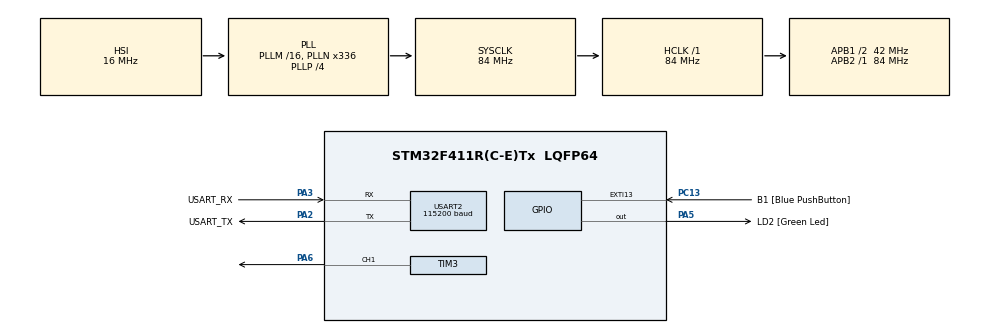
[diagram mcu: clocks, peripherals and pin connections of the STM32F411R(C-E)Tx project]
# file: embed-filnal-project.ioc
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Mcu.Family=STM32F4
Mcu.Name=STM32F411R(C-E)Tx
Mcu.Package=LQFP64
NVIC.PriorityGroup=NVIC_PRIORITYGROUP_2
NVIC.TIM3_IRQn=true\:0\:0\:true\:false\:true\:true\:true
NVIC.USART2_IRQn=true\:1\:0\:true\:false\:true\:true\:true
PA13.GPIO_Label=TMS
PA13.Mode=Serial_Wire
PA13.Signal=SYS_JTMS-SWDIO
PA14.GPIO_Label=TCK
PA14.Mode=Serial_Wire
PA14.Signal=SYS_JTCK-SWCLK
PA2.GPIO_Label=USART_TX
PA2.Mode=Asynchronous
PA2.Signal=USART2_TX
PA3.GPIO_Label=USART_RX
PA3.Mode=Asynchronous
PA3.Signal=USART2_RX
PA5.GPIO_Label=LD2 [Green Led]
PA5.Signal=GPIO_Output
PA6.Signal=S_TIM3_CH1
PB3.GPIO_Label=SWO
PB3.Signal=SYS_JTDO-SWO
PC13-ANTI_TAMP.GPIO_Label=B1 [Blue PushButton]
PC13-ANTI_TAMP.GPIO_ModeDefaultEXTI=GPIO_MODE_IT_FALLING
PC13-ANTI_TAMP.Signal=GPXTI13
PC14-OSC32_IN.Mode=LSE-External-Oscillator
PC14-OSC32_IN.Signal=RCC_OSC32_IN
PC15-OSC32_OUT.Mode=LSE-External-Oscillator
PC15-OSC32_OUT.Signal=RCC_OSC32_OUT
PH0\ -\ OSC_IN.Mode=HSE-External-Clock-Source
PH0\ -\ OSC_IN.Signal=RCC_OSC_IN
PH1\ -\ OSC_OUT.Mode=HSE-External-Clock-Source
PH1\ -\ OSC_OUT.Signal=RCC_OSC_OUT
ProjectManager.HeapSize=0x200
ProjectManager.StackSize=0x400
ProjectManager.TargetToolchain=STM32CubeIDE
RCC.48MHZClocksFreq_Value=84000000
RCC.AHBFreq_Value=84000000
RCC.APB1CLKDivider=RCC_HCLK_DIV2
RCC.APB1Freq_Value=42000000
RCC.APB1TimFreq_Value=84000000
RCC.APB2Freq_Value=84000000
RCC.APB2TimFreq_Value=84000000
RCC.CortexFreq_Value=84000000
RCC.FLatency-AdvancedSettings=FLASH_LATENCY_2
RCC.HCLKFreq_Value=84000000
RCC.HSE_VALUE=8000000
RCC.HSI_VALUE=16000000
RCC.PLLN=336
RCC.PLLP=RCC_PLLP_DIV4
RCC.SYSCLKFreq_VALUE=84000000
RCC.SYSCLKSource=RCC_SYSCLKSOURCE_PLLCLK
RCC.VCOOutputFreq_Value=336000000
SH.S_TIM3_CH1.0=TIM3_CH1,PWM Generation1 CH1
TIM3.AutoReloadPreload=TIM_AUTORELOAD_PRELOAD_ENABLE
TIM3.Channel-PWM\ Generation1\ CH1=TIM_CHANNEL_1
TIM3.Period=1000
TIM3.Prescaler=3500
USART2.BaudRate=115200
USART2.VirtualMode=VM_ASYNC
VP_TIM3_VS_ClockSourceINT.Mode=Internal
board=NUCLEO-F411RE

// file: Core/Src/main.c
/* USER CODE BEGIN Header */
/**
  ******************************************************************************
  * @file           : main.c
  * @brief          : Main program body
  ******************************************************************************
  * @attention
  *
  * <h2><center>&copy; Copyright (c) 2020 STMicroelectronics.
  * All rights reserved.</center></h2>
  *
  * This software component is licensed by ST under BSD 3-Clause license,
  * the "License"; You may not use this file except in compliance with the
  * License. You may obtain a copy of the License at:
  *                        opensource.org/licenses/BSD-3-Clause
  *
  ******************************************************************************
  */
/* USER CODE END Header */

#include "main.h"

/* USER CODE BEGIN Includes */
#include <stdio.h>
#include <stdlib.h>
#include <string.h>
/* USER CODE END Includes */

/* USER CODE BEGIN PTD */
struct Ball {
	int prevX, prevY; // Previous position
	int posX, posY; // position
	int mvH, mvV; // velocity
};

struct Paddle {
	uint8_t id;
	int prevX, prevY;
	int posX, posY;
};
/* USER CODE END PTD */

/* USER CODE BEGIN PD */
#define FORCE 1

#define SCREEN_WIDTH 79
#define SCREEN_HEIGHT 25

// program state
#define NULL_SCREEN -1
#define START_SCREEN 0
#define GAME_SCREEN 1
#define END_SCREEN 10
#define CREDIT_SCREEN 99

// color
#define COLOR_DEFAULT 0
#define COLOR_BLACK 0
#define COLOR_WHITE 15
#define COLOR_RED 196
#define COLOR_BLUE 21
#define COLOR_BLUE_SKY 51
#define COLOR_LIGHT_GREEN 40
#define COLOR_DARK_GREEN 34
#define COLOR_YELLOW 226
#define COLOR_PURPLE 99

// constant
#define PADDLE_SIZE_X 1
#define PADDLE_SZIE_Y 3 // Half
#define PADDLE_SPEED 2
/* USER CODE END PD */

TIM_HandleTypeDef htim3;

UART_HandleTypeDef huart2;

/* USER CODE BEGIN PV */
int state = START_SCREEN;
int tracker = NULL_SCREEN;
int score1 = 0, score2 = 0;
uint8_t isGameStart = 0, isGameEnd = 0, enableRandom = 0;
uint8_t winner = 0, win_score = 3;
struct Ball ball = {
		.posX = 40,
		.posY = 12,
		.mvH = 2,
		.mvV = 1,
};
struct Paddle paddle1 = {
	.id = 1,
	.posX = 75,
	.posY = 12
};
struct Paddle paddle2 = {
	.id = 2,
	.posX = 5,
	.posY = 12,
};
char rxData[10];
/* USER CODE END PV */

void SystemClock_Config(void);
static void MX_GPIO_Init(void);
static void MX_USART2_UART_Init(void);
static void MX_TIM3_Init(void);
/* USER CODE BEGIN PFP */
void welcome(void);
void initial(void);
void gameover(void);
void tick(void);
void render(void);
void reset(void);
// drawing
void drawScoreBar(void);
void drawZoneLine(void);
void drawPaddle(struct Paddle *paddle, uint8_t force);
void drawBall(struct Ball *ball);
// update value
void setPaddlePostion(struct Paddle* paddle, int value);
void setBallPosition(struct Ball *ball, int col, int row);
void updateBallPosition(struct Ball *ball);
void resetPosition(void);
void resetVelocity(void);
void resetScore(void);
void reset(void);
uint8_t checkIfScore(void);
// screen related
void clrscr(void);
void print(const char *str);
void set_cursor(uint8_t col, uint8_t row);
// print message
void printGameTitle(uint8_t start_col, uint8_t start_row);
void printHTP(uint8_t start_col, uint8_t start_row);
void printGameOver(uint8_t start_col, uint8_t start_row);
void printCredit(uint8_t start_col, uint8_t start_row);
// utility
int boundMaxMin(int value, int max, int min);
void setBackgroundColor(uint8_t color);
void setForegroundColor(uint8_t color);
/* USER CODE END PFP */

/* USER CODE BEGIN 0 */
void HAL_UART_RxCpltCallback(UART_HandleTypeDef *huart) {
  /* here we consume the current value of rx */
  // Debug Blinking
  HAL_GPIO_WritePin(LD2_GPIO_Port, LD2_Pin, 1);
  	switch (state) {
  	case START_SCREEN:
  		switch (rxData[0]) {
  		case 's': case 'S':
  			state = GAME_SCREEN;

  			// Redraw screen to Start New Game
  			resetPosition();
  			resetScore();
  			isGameStart = 0;
  			isGameEnd = 0;
  			enableRandom = 0;
  			initial();

  			break;
  		case '1': win_score = 1; tracker = NULL_SCREEN; break;
  		case '2': win_score = 2; tracker = NULL_SCREEN; break;
  		case '3': win_score = 3; tracker = NULL_SCREEN; break;
  		case '4': win_score = 4; tracker = NULL_SCREEN; break;
  		case '5': win_score = 5; tracker = NULL_SCREEN; break;
  		case '6': win_score = 6; tracker = NULL_SCREEN; break;
  		case '7': win_score = 7; tracker = NULL_SCREEN; break;
  		case '8': win_score = 8; tracker = NULL_SCREEN; break;
  		case '9': win_score = 9; tracker = NULL_SCREEN; break;
  		case '0': win_score = 10; tracker = NULL_SCREEN; break;
  		}
  		break;
  	case GAME_SCREEN:
  		// Any key would trigger this
  		isGameStart = 1;
  		switch(rxData[0]) {
		case 'A':
			setPaddlePostion(&paddle1, paddle1.posY-PADDLE_SPEED);
			break;
		case 'B':
			setPaddlePostion(&paddle1, paddle1.posY+PADDLE_SPEED);
			break;
		case 'w':
			setPaddlePostion(&paddle2, paddle2.posY-PADDLE_SPEED);
			break;
		case 's':
			setPaddlePostion(&paddle2, paddle2.posY+PADDLE_SPEED);
			break;
		case 'x': case 'X':
			state = START_SCREEN;

			resetPosition();
			resetScore();
			break;
		case 'c': case 'C':
			enableRandom = 1;
			set_cursor(65, 24);
			print("Random mode ON!");
			break;
		}
  		break;
  	case END_SCREEN:
  		switch(rxData[0]) {
  		case 'r': case 'R':
  			state = GAME_SCREEN;

			// Redraw screen to Start New Game
			resetPosition();
			resetScore();
			isGameStart = 0;
			isGameEnd = 0;
			enableRandom = 0;
			initial();
  			break;
  		case 'x': case 'X':
  			state = START_SCREEN;
  			break;
  		}
  		break;
  	}

  /* set up to receive another char */
  HAL_UART_Receive_IT(&huart2, rxData, 1);
}
/* USER CODE END 0 */

int main(void)
{

  /* MCU Configuration--------------------------------------------------------*/

  /* Reset of all peripherals, Initializes the Flash interface and the Systick. */
  HAL_Init();

  /* Configure the system clock */
  SystemClock_Config();

  /* Initialize all configured peripherals */
  MX_GPIO_Init();
  MX_USART2_UART_Init();
  MX_TIM3_Init();
  /* USER CODE BEGIN 2 */
  HAL_TIM_PWM_Start(&htim3, TIM_CHANNEL_1);
  HAL_TIM_Base_Start_IT(&htim3);
  HAL_UART_Receive_IT(&huart2, (uint8_t*)rxData, 1);
  /* USER CODE END 2 */

  /* Infinite loop */
  while (1)
  {

  }
}

void SystemClock_Config(void)
{
  RCC_OscInitTypeDef RCC_OscInitStruct = {0};
  RCC_ClkInitTypeDef RCC_ClkInitStruct = {0};

  /** Configure the main internal regulator output voltage
  */
  __HAL_RCC_PWR_CLK_ENABLE();
  __HAL_PWR_VOLTAGESCALING_CONFIG(PWR_REGULATOR_VOLTAGE_SCALE1);
  /** Initializes the CPU, AHB and APB busses clocks
  */
  RCC_OscInitStruct.OscillatorType = RCC_OSCILLATORTYPE_HSI;
  RCC_OscInitStruct.HSIState = RCC_HSI_ON;
  RCC_OscInitStruct.HSICalibrationValue = RCC_HSICALIBRATION_DEFAULT;
  RCC_OscInitStruct.PLL.PLLState = RCC_PLL_ON;
  RCC_OscInitStruct.PLL.PLLSource = RCC_PLLSOURCE_HSI;
  RCC_OscInitStruct.PLL.PLLM = 16;
  RCC_OscInitStruct.PLL.PLLN = 336;
  RCC_OscInitStruct.PLL.PLLP = RCC_PLLP_DIV4;
  RCC_OscInitStruct.PLL.PLLQ = 4;
  if (HAL_RCC_OscConfig(&RCC_OscInitStruct) != HAL_OK)
  {
    Error_Handler();
  }
  /** Initializes the CPU, AHB and APB busses clocks
  */
  RCC_ClkInitStruct.ClockType = RCC_CLOCKTYPE_HCLK|RCC_CLOCKTYPE_SYSCLK
                              |RCC_CLOCKTYPE_PCLK1|RCC_CLOCKTYPE_PCLK2;
  RCC_ClkInitStruct.SYSCLKSource = RCC_SYSCLKSOURCE_PLLCLK;
  RCC_ClkInitStruct.AHBCLKDivider = RCC_SYSCLK_DIV1;
  RCC_ClkInitStruct.APB1CLKDivider = RCC_HCLK_DIV2;
  RCC_ClkInitStruct.APB2CLKDivider = RCC_HCLK_DIV1;

  if (HAL_RCC_ClockConfig(&RCC_ClkInitStruct, FLASH_LATENCY_2) != HAL_OK)
  {
    Error_Handler();
  }
}

static void MX_TIM3_Init(void)
{

  TIM_ClockConfigTypeDef sClockSourceConfig = {0};
  TIM_MasterConfigTypeDef sMasterConfig = {0};
  TIM_OC_InitTypeDef sConfigOC = {0};

  htim3.Instance = TIM3;
  htim3.Init.Prescaler = 3500;
  htim3.Init.CounterMode = TIM_COUNTERMODE_UP;
  htim3.Init.Period = 1000;
  htim3.Init.ClockDivision = TIM_CLOCKDIVISION_DIV1;
  htim3.Init.AutoReloadPreload = TIM_AUTORELOAD_PRELOAD_ENABLE;
  if (HAL_TIM_Base_Init(&htim3) != HAL_OK)
  {
    Error_Handler();
  }
  sClockSourceConfig.ClockSource = TIM_CLOCKSOURCE_INTERNAL;
  if (HAL_TIM_ConfigClockSource(&htim3, &sClockSourceConfig) != HAL_OK)
  {
    Error_Handler();
  }
  if (HAL_TIM_PWM_Init(&htim3) != HAL_OK)
  {
    Error_Handler();
  }
  sMasterConfig.MasterOutputTrigger = TIM_TRGO_RESET;
  sMasterConfig.MasterSlaveMode = TIM_MASTERSLAVEMODE_DISABLE;
  if (HAL_TIMEx_MasterConfigSynchronization(&htim3, &sMasterConfig) != HAL_OK)
  {
    Error_Handler();
  }
  sConfigOC.OCMode = TIM_OCMODE_PWM1;
  sConfigOC.Pulse = 0;
  sConfigOC.OCPolarity = TIM_OCPOLARITY_HIGH;
  sConfigOC.OCFastMode = TIM_OCFAST_DISABLE;
  if (HAL_TIM_PWM_ConfigChannel(&htim3, &sConfigOC, TIM_CHANNEL_1) != HAL_OK)
  {
    Error_Handler();
  }
  HAL_TIM_MspPostInit(&htim3);

}

static void MX_USART2_UART_Init(void)
{

  huart2.Instance = USART2;
  huart2.Init.BaudRate = 115200;
  huart2.Init.WordLength = UART_WORDLENGTH_8B;
  huart2.Init.StopBits = UART_STOPBITS_1;
  huart2.Init.Parity = UART_PARITY_NONE;
  huart2.Init.Mode = UART_MODE_TX_RX;
  huart2.Init.HwFlowCtl = UART_HWCONTROL_NONE;
  huart2.Init.OverSampling = UART_OVERSAMPLING_16;
  if (HAL_UART_Init(&huart2) != HAL_OK)
  {
    Error_Handler();
  }

}

static void MX_GPIO_Init(void)
{
  GPIO_InitTypeDef GPIO_InitStruct = {0};

  /* GPIO Ports Clock Enable */
  __HAL_RCC_GPIOC_CLK_ENABLE();
  __HAL_RCC_GPIOH_CLK_ENABLE();
  __HAL_RCC_GPIOA_CLK_ENABLE();
  __HAL_RCC_GPIOB_CLK_ENABLE();

  /*Configure GPIO pin Output Level */
  HAL_GPIO_WritePin(LD2_GPIO_Port, LD2_Pin, GPIO_PIN_RESET);

  /*Configure GPIO pin : B1_Pin */
  GPIO_InitStruct.Pin = B1_Pin;
  GPIO_InitStruct.Mode = GPIO_MODE_IT_FALLING;
  GPIO_InitStruct.Pull = GPIO_NOPULL;
  HAL_GPIO_Init(B1_GPIO_Port, &GPIO_InitStruct);

  /*Configure GPIO pin : LD2_Pin */
  GPIO_InitStruct.Pin = LD2_Pin;
  GPIO_InitStruct.Mode = GPIO_MODE_OUTPUT_PP;
  GPIO_InitStruct.Pull = GPIO_NOPULL;
  GPIO_InitStruct.Speed = GPIO_SPEED_FREQ_LOW;
  HAL_GPIO_Init(LD2_GPIO_Port, &GPIO_InitStruct);

}

/* USER CODE BEGIN 4 */
void HAL_TIM_PeriodElapsedCallback(TIM_HandleTypeDef *htim) {

	switch (state) {
	case START_SCREEN:
		// Start screen
		welcome();
		break;
	case GAME_SCREEN:
		if (isGameStart) {
			if (!isGameEnd) {
				tick();
				render();
			} else {
				state = END_SCREEN;
				clrscr();
			}
		}
		break;
	case END_SCREEN:
		gameover();
		break;
	case CREDIT_SCREEN:
		break;
	}

	// Change tracker point
	if (tracker != state)
		tracker = state;

	// Toggle LED
	HAL_GPIO_WritePin(LD2_GPIO_Port, LD2_Pin, 0);
}

const uint8_t bst = 93;
const uint8_t bed = 226;
uint8_t bc = 93;

// Tick()
void tick() {
	// Update Ball Position
	updateBallPosition(&ball);

	// Score's
	switch (checkIfScore()) {
	case 1:
		// Player 1 Score!
		score1++;
		reset();
		break;
	case 2:
		// Player 2 Score!
		score2++;
		reset();
		break;
	default:
		// Continue;
		break;
	}

	// Game have ended
	if (score1 >= win_score || score2 >= win_score) {
		isGameEnd = 1;
		isGameStart = 1;
	}
}

// Update()
void render() {
	drawPaddle(&paddle1, 0);
	drawPaddle(&paddle2, 0);
	drawBall(&ball);
}

// Complex &
// Screens
void welcome() {
	if (tracker == state) return;

	// Draw Game Screen for being background
	initial();

	const char buffer[] = "\033[?25l"; // Invisible Cursor

	print(buffer);

	printGameTitle(31, 5);
	printHTP(25, 15);
	printCredit(60, 24);
}

void initial() {
	clrscr();
	drawScoreBar();
	drawZoneLine();
	drawPaddle(&paddle1, 1);
	drawPaddle(&paddle2, 1);

	if (enableRandom) {
		set_cursor(65, 24);
		print("Random mode ON!");
	}

	srand(SysTick->VAL);

	return;
}

void gameover() {
	winner = (score1 > score2) ? 1 : 2;
	printGameOver(22, 9);
}

uint8_t checkIfScore() {
	struct Ball *b = &ball;
	if (b->mvH > 0 && b->posX + b->mvH >= SCREEN_WIDTH) { // Player2 score!
		return 2;
	} else if (b->mvH < 0 && b->posX + b->mvH <= 0) { // Player1 score!
		return 1;
	}
	else {
		return 0;
	}
}

// Draw functions
void drawScoreBar() {
	char buff[16];
	set_cursor(45, 0);
	setForegroundColor(COLOR_RED);
	HAL_UART_Transmit(&huart2, (uint8_t*)buff, sprintf(buff, "%d", score1), HAL_MAX_DELAY);
	set_cursor(77, 0);
	print("P1");
	set_cursor(35, 0);
	setForegroundColor(COLOR_BLUE);
	HAL_UART_Transmit(&huart2, (uint8_t*)buff, sprintf(buff, "%d", score2), HAL_MAX_DELAY);
	set_cursor(3, 0);
	print("P2");

	setForegroundColor(COLOR_WHITE);
}

void drawPaddle(struct Paddle* paddle, uint8_t force) {
	if (!force && paddle->prevX == paddle->posX && paddle->prevY == paddle->posY) return;

//	char clean = ' ';

	// Clean up Old
	set_cursor(paddle->posX, paddle->prevY-3);
	setBackgroundColor(COLOR_DEFAULT);
	for (uint8_t j = paddle->prevY-3; j <= paddle->prevY+3; ++j) {
		set_cursor(paddle->posX, j);
		print(" ");
	}

	// Set new values to previous position
	paddle->prevX = paddle->posX;
	paddle->prevY = paddle->posY;

	// Render New
	set_cursor(paddle->posX, paddle->posY-3);
	setBackgroundColor(paddle->id == 1 ? COLOR_RED : COLOR_BLUE);
	for (uint8_t j = paddle->posY-3; j <= paddle->posY+3; ++j) {
		set_cursor(paddle->posX, j);
		print(" ");
	}

	setBackgroundColor(COLOR_DEFAULT);
	return;
}

void drawZoneLine() {
	set_cursor(40, 0);
	setBackgroundColor(COLOR_LIGHT_GREEN);
	for (uint8_t i = 0; i <= SCREEN_HEIGHT; ++i) {
		set_cursor(40, i);
		print(" ");
	}
	setBackgroundColor(COLOR_DEFAULT);
	return;
}

void drawBall(struct Ball *ball) {
	if (ball->prevX == ball->posX && ball->prevY == ball->posY) return;

	// Clean up Old
	set_cursor(ball->prevX, ball->prevY);
	setBackgroundColor(ball->prevX == 40 ? COLOR_LIGHT_GREEN : COLOR_DEFAULT);
	print(" ");

	// Update previous position
	ball->prevX = ball->posX;
	ball->prevY = ball->posY;

	// Render New
	set_cursor(ball->posX, ball->posY);
	setBackgroundColor(bc++);
	bc %= bed;
	if (bc == 0) {
		bc = bst;
	}
	print(" ");

	setBackgroundColor(COLOR_DEFAULT);
	return;
}

// update functions
void updateBallPosition(struct Ball *ball) {

	struct Paddle *p1 = &paddle1;
	struct Paddle *p2 = &paddle2;

	if (p1 == NULL || p2 == NULL) return;

	if ((ball->mvH > 0 && ball->posX + ball->mvH >= p1->posX && (ball->posY + ball->mvV <= p1->posY+PADDLE_SZIE_Y && ball->posY + ball->mvV >= p1->posY-PADDLE_SZIE_Y)) ||
		(ball->mvH < 0 && ball->posX + ball->mvH <= p2->posX && (ball->posY + ball->mvV <= p2->posY+PADDLE_SZIE_Y && ball->posY + ball->mvV >= p2->posY-PADDLE_SZIE_Y)))
	{
		if (enableRandom) {
			uint8_t chance = rand() % 101;
			int sign = ball->mvH < 0 ? -1 : 1;
			if (chance > 75) {
				ball->mvH = 2 * sign;
			} else {
				ball->mvH = 3 * sign;
			}

			if (chance > 50) {
				ball->mvV = -ball->mvV;
			}
		}
		ball->mvH = -ball->mvH;
	}

	ball->posX = boundMaxMin(ball->posX+ball->mvH, SCREEN_WIDTH, 0);

	if ((ball->mvV < 0 && ball->posY + ball->mvV <= 0) ||
		(ball->mvV > 0 && ball->posY + ball->mvV >= SCREEN_HEIGHT)) {
		if (enableRandom) {
			uint8_t chance = rand() % 101;
			int sign = ball->mvV < 0 ? -1 : 1;
			if (chance > 20) {
				ball->mvV = 1 * sign;
			} else {
				ball->mvV = 2 * sign;
			}
		}
		ball->mvV = -ball->mvV;
	}

	ball->posY = boundMaxMin(ball->posY+ball->mvV, SCREEN_HEIGHT, 0);
}

void resetPosition() {
	// Reset Position Paddle
	setPaddlePostion(&paddle1, 12);
	setPaddlePostion(&paddle2, 12);
	// reset Postion Ball
	setBallPosition(&ball, 40, 12);
}

void resetVelocity() {
	ball.mvH = 2;
	ball.mvV = 1;
}

void resetScore() {
	score1 = score2 = 0;
}

void reset() {
	resetPosition();
	resetVelocity();
	// No reset Score <-- the difference

	// Stop the game til user input any
	isGameStart = 0;

	// Re draw all
	initial();
}

// Handle User's input functions
void setPaddlePostion(struct Paddle* paddle, int value) {
	paddle->posY = boundMaxMin(value, SCREEN_HEIGHT-3, 4);
}

void setBallPosition(struct Ball *ball, int col, int row) {
	ball->posX = boundMaxMin(col, SCREEN_WIDTH, 0);
	ball->posY = boundMaxMin(row, SCREEN_HEIGHT, 0);
}

// Utillity functions
int boundMaxMin(int value, int max, int min) {
	value = value > max ? max : value;
	value = value < min ? min : value;
	return value;
}

void print(const char *str) {
	char buffer[55];
	HAL_UART_Transmit(&huart2, buffer, sprintf(buffer, "%s", str), HAL_MAX_DELAY);
	return;
}

void set_cursor(uint8_t col, uint8_t row) {
	char cmd[50];
	sprintf(cmd, "\033[%d;%dH", row, col); // [{row};{col}H
	HAL_UART_Transmit(&huart2, (uint8_t*)cmd, strlen(cmd), HAL_MAX_DELAY);
}

void clrscr(void) {
	const char clear[] = "\033[2J";
	const char jump_to_home[] = "\033[H\r";
	HAL_UART_Transmit(&huart2, (uint8_t*)clear, sizeof(clear), HAL_MAX_DELAY);
	HAL_UART_Transmit(&huart2, (uint8_t*)jump_to_home, sizeof(jump_to_home), HAL_MAX_DELAY);
}

void printGameTitle(uint8_t start_col, uint8_t start_row) {
	uint8_t col = start_col, row = start_row;
	// Print P
	set_cursor(col, row);
	setForegroundColor(COLOR_RED);
	print("## "); set_cursor(col, row+1);
	print("# #"); set_cursor(col, row+2);
	print("## "); set_cursor(col, row+3);
	print("#  "); set_cursor(col, row+4);
	print("#  "); set_cursor(col, row+5);
	// Print O
	set_cursor(col+4, row);
	setForegroundColor(COLOR_YELLOW);
	print(" ## "); set_cursor(col+4, row+1);
	print("#  #"); set_cursor(col+4, row+2);
	print("#  #"); set_cursor(col+4, row+3);
	print("#  #"); set_cursor(col+4, row+4);
	print(" ## "); set_cursor(col+4, row+5);
	set_cursor(col+9, row);
	setForegroundColor(COLOR_LIGHT_GREEN);
	print("#   #"); set_cursor(col+9, row+1);
	print("##  #"); set_cursor(col+9, row+2);
	print("# # #"); set_cursor(col+9, row+3);
	print("#  ##"); set_cursor(col+9, row+4);
	print("#   #"); set_cursor(col+9, row+5);
	set_cursor(col+15, row);
	setForegroundColor(COLOR_PURPLE);
	print(" ## "); set_cursor(col+15, row+1);
	print("#  #"); set_cursor(col+15, row+2);
	print("# ##"); set_cursor(col+15, row+3);
	print("#  #"); set_cursor(col+15, row+4);
	print(" ## "); set_cursor(col+15, row+5);
	// Print N
	// Print G

	setBackgroundColor(COLOR_DEFAULT);
	setForegroundColor(COLOR_WHITE);
}

void printHTP(uint8_t start_col, uint8_t start_row) {
	uint8_t col = start_col, row = start_row;
	setForegroundColor(COLOR_RED);
	set_cursor(col, row++);
	print("*Note, Do not hold the button!");
	set_cursor(col, row++);
	print("   Use SPAMING instead...");
	set_cursor(col, row++);
	set_cursor(col, row++);
	setForegroundColor(COLOR_YELLOW);
	char buffer[50];
	sprintf(buffer, "Who got %d point before, win!", win_score);
	print(buffer);
	set_cursor(col, row++);
	print("paddle 1 (right) use arrow \'up\' & \'down\'");
	set_cursor(col, row++);
	print("paddle 2 (left) use key \'w\' & \'s\'");
	set_cursor(col, row++);
	set_cursor(col, row++);
	setForegroundColor(COLOR_WHITE);
	print("Press 's' to start the game");
}

void printGameOver(uint8_t start_col, uint8_t start_row) {
	const uint8_t colors[] = { 40, 81, 220, 202, 127 };
	uint8_t col = start_col, row = start_row;
	char *msg1[5] = {
			"#   # ### #   # #   # #### ###      #   ",
			"#   #  #  ##  # ##  # #    #  #   ###   ",
			"# # #  #  # # # # # # #### ###      #   ",
			"## ##  #  #  ## #  ## #    #  #     #   ",
			"#   # ### #   # #   # #### #  #    ###  "
	};
	char *msg2[5] = {
			"#   # ### #   # #   # #### ###    ###   ",
			"#   #  #  ##  # ##  # #    #  #     #   ",
			"# # #  #  # # # # # # #### ###    ###   ",
			"## ##  #  #  ## #  ## #    #  #   #     ",
			"#   # ### #   # #   # #### #  #   ###   "
		};

	set_cursor(col, row++); print("Press 'x' go to START SCREEN");
	set_cursor(col, row++); print("Press 'r' restart the match!");

	set_cursor(col, row++); set_cursor(col, row++);

	switch (winner) {
	case 1:
		setForegroundColor(colors[0]); set_cursor(col, row++); print(msg1[0]);
		setForegroundColor(colors[1]); set_cursor(col, row++); print(msg1[1]);
		setForegroundColor(colors[2]); set_cursor(col, row++); print(msg1[2]);
		setForegroundColor(colors[3]); set_cursor(col, row++); print(msg1[3]);
		setForegroundColor(colors[4]); set_cursor(col, row++); print(msg1[4]);
		break;
	case 2:
		setForegroundColor(colors[0]); set_cursor(col, row++); print(msg2[0]);
		setForegroundColor(colors[1]); set_cursor(col, row++); print(msg2[1]);
		setForegroundColor(colors[2]); set_cursor(col, row++); print(msg2[2]);
		setForegroundColor(colors[3]); set_cursor(col, row++); print(msg2[3]);
		setForegroundColor(colors[4]); set_cursor(col, row++); print(msg2[4]);
		break;
	}

	setForegroundColor(COLOR_WHITE);
	return;
}

void printCredit(uint8_t start_col, uint8_t start_row) {
	set_cursor(start_col, start_row);
	char cpr = 184;
	HAL_UART_Transmit(&huart2, &cpr, 1, HAL_MAX_DELAY);
	print("2020 KoFeeBriAN");
}
/* USER CODE END 4 */

void setBackgroundColor(uint8_t color) {
	char buffer[50];
	HAL_UART_Transmit(&huart2, buffer, sprintf(buffer, "\033[48:5:%dm", color), HAL_MAX_DELAY);
	return;
}

void setForegroundColor(uint8_t color) {
	char buffer[50];
	HAL_UART_Transmit(&huart2, buffer, sprintf(buffer, "\033[38:5:%dm", color), HAL_MAX_DELAY);
	return;
}

void Error_Handler(void)
{
}

/************************ (C) COPYRIGHT STMicroelectronics *****END OF FILE****/
